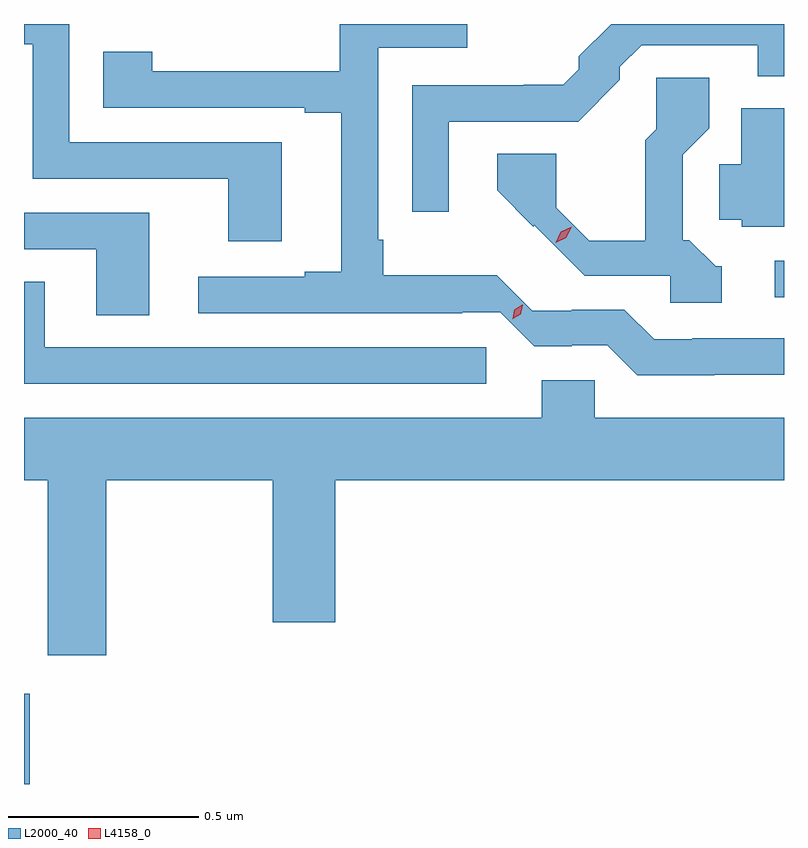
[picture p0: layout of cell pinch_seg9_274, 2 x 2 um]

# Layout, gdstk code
import gdstk
lib = gdstk.Library(unit=1e-6, precision=1e-09)
def R(c, l, rs):  # rectangles x0, y0, x1, y1
    for r in rs: c.add(gdstk.rectangle(r[:2], r[2:], *l))
def P(c, l, *ps):  # polygons
    for p in ps: c.add(gdstk.Polygon(p, *l))
L2000_40 = (2000, 40)
L4158_0 = (4158, 0)

pinch_seg9_274 = lib.new_cell('pinch_seg9_274')
R(pinch_seg9_274, L2000_40, [(512.005,1206.276,512.02,1206.514), (513.981,1207.557,514.005,1207.653)])
P(pinch_seg9_274, L2000_40, [(513.123,1208.019),(513.463,1208.019),(513.573,1208.129),(513.573,1208.163),(513.63,1208.22),(513.936,1208.22),(513.936,1208.139),(514.005,1208.139),(514.005,1208.276),(513.55,1208.276),(513.465,1208.191),(513.465,1208.157),(513.424,1208.116),(513.32,1208.116),(513.32,1208.115),(513.027,1208.115),(513.027,1207.782),(513.123,1207.782)],
  [(512.683,1207.965),(512.124,1207.965),(512.124,1208.276),(512.005,1208.276),(512.005,1208.223),(512.028,1208.223),(512.028,1207.869),(512.543,1207.869),(512.543,1207.704),(512.683,1207.704)],
  [(513.821,1207.353),(514.005,1207.353),(514.005,1207.449),(513.763,1207.449),(513.763,1207.446),(513.663,1207.446),(513.585,1207.524),(513.446,1207.524),(513.446,1207.521),(513.342,1207.521),(513.249,1207.615),(512.95,1207.615),(512.95,1207.708),(512.937,1207.708),(512.937,1208.214),(513.172,1208.214),(513.172,1208.276),(512.836,1208.276),(512.836,1208.152),(512.342,1208.152),(512.342,1208.203),(512.214,1208.203),(512.214,1208.055),(512.744,1208.055),(512.744,1208.043),(512.84,1208.043),(512.84,1207.624),(512.744,1207.624),(512.744,1207.611),(512.463,1207.611),(512.463,1207.515),(513.158,1207.515),(513.158,1207.518),(513.258,1207.518),(513.348,1207.428),(513.446,1207.428),(513.446,1207.431),(513.54,1207.431),(513.619,1207.352),(513.821,1207.352)],
  [(513.841,1207.638),(513.825,1207.638),(513.756,1207.707),(513.738,1207.707),(513.738,1207.932),(513.808,1208.002),(513.808,1208.134),(513.669,1208.134),(513.669,1207.999),(513.64,1207.97),(513.64,1207.706),(513.492,1207.706),(513.405,1207.793),(513.405,1207.934),(513.25,1207.934),(513.25,1207.838),(513.345,1207.743),(513.348,1207.746),(513.48,1207.614),(513.705,1207.614),(513.705,1207.542),(513.841,1207.542)],
  [(514.005,1208.054),(513.893,1208.054),(513.893,1207.907),(513.834,1207.907),(513.834,1207.761),(513.894,1207.761),(513.894,1207.742),(514.005,1207.742)],
  [(512.335,1207.779),(512.005,1207.779),(512.005,1207.683),(512.195,1207.683),(512.195,1207.51),(512.335,1207.51)],
  [(513.222,1207.425),(512.059,1207.425),(512.059,1207.598),(512.005,1207.598),(512.005,1207.329),(513.222,1207.329)],
  [(512.222,1207.076),(512.66,1207.076),(512.66,1206.702),(512.824,1206.702),(512.824,1207.076),(514.005,1207.076),(514.005,1207.24),(513.507,1207.24),(513.507,1207.338),(513.368,1207.338),(513.368,1207.24),(512.005,1207.24),(512.005,1207.076),(512.068,1207.076),(512.068,1206.615),(512.222,1206.615)])
P(pinch_seg9_274, L4158_0, [(513.291,1207.499),(513.291,1207.5),(513.295,1207.524),(513.316,1207.537),(513.317,1207.537),(513.317,1207.537),(513.312,1207.512),(513.291,1207.5)],
  [(513.404,1207.701),(513.404,1207.701),(513.418,1207.729),(513.446,1207.742),(513.446,1207.742),(513.446,1207.742),(513.432,1207.714),(513.404,1207.701)])

lib.write_gds('pinch_seg9_274.gds')
